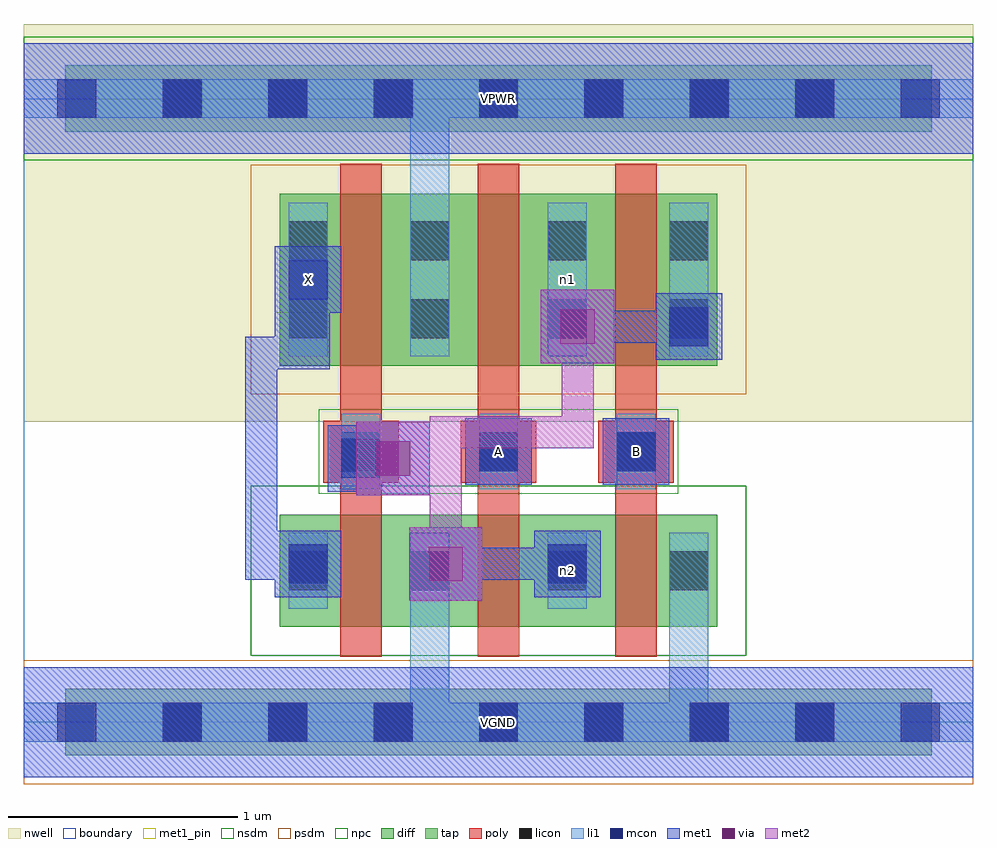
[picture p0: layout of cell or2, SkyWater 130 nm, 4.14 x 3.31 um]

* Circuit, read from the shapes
.subckt or2 A B VGND VPWR X n1 n2
XM1 VGND n2 X VGND sky130_fd_pr__nfet_01v8 w=0.49 l=0.18
XM2 n2 A VGND VGND sky130_fd_pr__nfet_01v8 w=0.49 l=0.18
XM3 VGND B n2 VGND sky130_fd_pr__nfet_01v8 w=0.49 l=0.18
XM4 VPWR n2 X VPWR sky130_fd_pr__pfet_01v8 w=0.75 l=0.18
XM5 n1 A VPWR VPWR sky130_fd_pr__pfet_01v8 w=0.75 l=0.18
XM6 n2 B n1 VPWR sky130_fd_pr__pfet_01v8 w=0.75 l=0.18
.ends

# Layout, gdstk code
import gdstk
lib = gdstk.Library(unit=1e-6, precision=1e-09)
def R(c, l, rs):  # rectangles x0, y0, x1, y1
    for r in rs: c.add(gdstk.rectangle(r[:2], r[2:], *l))
def A(c, l, x, y, w, h, nx, ny, dx, dy):  # array of equal rectangles
    R(c, l, [(x+i*dx, y+j*dy, x+i*dx+w, y+j*dy+h) for i in range(nx) for j in range(ny)])
nwell = (64, 20)
diff = (65, 20)
tap = (65, 44)
poly = (66, 20)
licon = (66, 44)
li1 = (67, 20)
mcon = (67, 44)
met1_pin = (68, 16)
met1 = (68, 20)
via = (68, 44)
met2 = (69, 20)
nsdm = (93, 44)
psdm = (94, 20)
npc = (95, 20)
boundary = (235, 4)

or2 = lib.new_cell('or2')
R(or2, nwell, [(0,1.31,4.14,3.045)])
R(or2, diff, [(1.115,0.415,3.025,0.905), (1.115,1.555,3.025,2.305)])
R(or2, tap, [(0.18,-0.145,3.96,0.145), (0.18,2.575,3.96,2.865)])
A(or2, poly, 1.38, 0.285, 0.18, 2.15, 3, 1, 0.6, 0)
A(or2, poly, 1.305, 1.045, 0.33, 0.27, 3, 1, 0.6, 0)
A(or2, licon, 0.605, -0.085, 0.17, 0.17, 7, 2, 0.46, 2.72)
A(or2, licon, 1.385, 1.095, 0.17, 0.17, 3, 1, 0.6, 0)
R(or2, licon, [(1.155,0.575,1.325,0.745), (1.685,0.575,1.855,0.745), (2.285,0.575,2.455,0.745), (2.815,0.575,2.985,0.745), (1.155,1.675,1.325,1.845), (1.685,1.675,1.855,1.845), (2.285,1.675,2.455,1.845), (2.815,1.675,2.985,1.845), (1.155,2.015,1.325,2.185), (1.685,2.015,1.855,2.185), (2.285,2.015,2.455,2.185), (2.815,2.015,2.985,2.185)])
A(or2, li1, 1.385, 1.015, 0.17, 0.33, 3, 1, 0.6, 0)
R(or2, li1, [(0,-0.085,4.14,0.085), (1.685,-0.085,1.855,0.825), (2.815,-0.085,2.985,0.825), (1.155,0.495,1.325,0.825), (1.685,0.495,1.855,0.825), (2.285,0.495,2.455,0.825), (2.815,0.495,2.985,0.825), (1.155,1.595,1.325,2.265), (1.685,1.595,1.855,2.265), (1.685,1.595,1.855,2.805), (2.285,1.595,2.455,2.265), (2.815,1.595,2.985,2.265), (0,2.635,4.14,2.805)])
A(or2, mcon, 0.145, -0.085, 0.17, 0.17, 9, 2, 0.46, 2.72)
R(or2, mcon, [(1.155,0.605,1.325,0.775), (2.285,0.605,2.455,0.775), (1.385,1.065,1.555,1.235), (1.985,1.095,2.155,1.265), (2.585,1.095,2.755,1.265), (2.815,1.64,2.985,1.81), (1.155,1.845,1.325,2.015)])
R(or2, met1_pin, [(0,-0.24,4.14,0.24), (1.925,1.035,2.215,1.325), (2.525,1.035,2.815,1.325), (1.095,1.785,1.385,2.075), (0,2.48,4.14,2.96)])
R(or2, met1, [(0,-0.24,4.14,0.24), (1.68,0.53,2,0.85), (1.095,0.545,1.385,0.835), (2.225,0.545,2.515,0.835), (0.965,0.62,1.105,1.68), (0.965,0.62,1.22,0.76), (1.08,0.62,1.31,0.76), (1.77,0.62,2.255,0.76), (2.115,0.62,2.44,0.76), (1.45,0.99,1.77,1.31), (1.325,1.005,1.615,1.295), (1.925,1.035,2.215,1.325), (2.525,1.035,2.815,1.325), (1.4,1.08,1.68,1.22), (0.965,1.54,1.335,1.68), (1.195,1.54,1.335,2.025), (2.255,1.565,2.575,1.885), (2.755,1.58,3.045,1.87), (2.345,1.655,2.83,1.795), (2.69,1.655,2.97,1.795), (1.095,1.68,1.335,1.785), (1.095,1.68,1.105,1.785), (1.095,1.785,1.385,2.075), (1.195,1.885,1.335,2.025), (0,2.48,4.14,2.96)])
R(or2, via, [(1.765,0.615,1.915,0.765), (1.535,1.075,1.685,1.225), (2.34,1.65,2.49,1.8)])
R(or2, met2, [(1.68,0.53,2,0.85), (1.77,0.62,1.91,1.22), (1.45,0.99,1.77,1.31), (1.54,1.08,1.91,1.22), (1.77,1.08,1.91,1.335), (1.77,1.195,2.485,1.335), (2.345,1.195,2.485,1.795), (2.255,1.565,2.575,1.885)])
R(or2, nsdm, [(0.99,0.29,3.15,1.03), (0,2.45,4.14,2.99)])
R(or2, psdm, [(0,-0.27,4.14,0.27), (0.99,1.43,3.15,2.43)])
R(or2, npc, [(1.285,0.995,2.855,1.365)])
R(or2, boundary, [(0,0,4.14,2.72)])
or2.add(gdstk.Label('n2', (2.37,0.66), layer=67, texttype=5))
or2.add(gdstk.Label('n1', (2.37,1.93), layer=67, texttype=5))
or2.add(gdstk.Label('A', (2.07,1.18), layer=68, texttype=5))
or2.add(gdstk.Label('B', (2.67,1.18), layer=68, texttype=5))
or2.add(gdstk.Label('X', (1.24,1.93), layer=68, texttype=5))
or2.add(gdstk.Label('VPWR', (2.07,2.72), layer=68, texttype=5))
or2.add(gdstk.Label('VGND', (2.07,0), layer=68, texttype=5))
or2.add(gdstk.Label('A', (2.07,1.18), layer=68, texttype=16))
or2.add(gdstk.Label('B', (2.67,1.18), layer=68, texttype=16))
or2.add(gdstk.Label('X', (1.24,1.93), layer=68, texttype=16))
or2.add(gdstk.Label('VPWR', (2.07,2.72), layer=68, texttype=16))
or2.add(gdstk.Label('VGND', (2.07,0), layer=68, texttype=16))

lib.write_gds('or2.gds')
